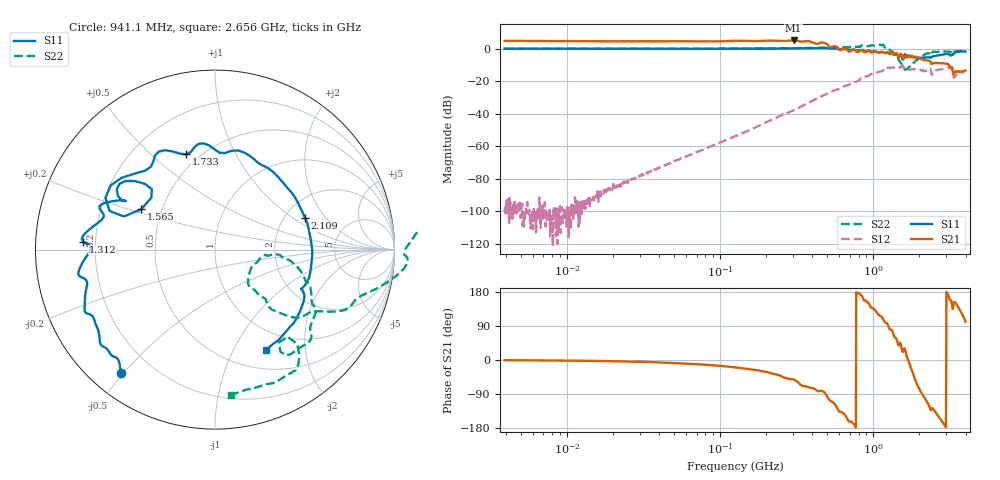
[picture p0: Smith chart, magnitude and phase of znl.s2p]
#  HZ  S  RI  R  50.00
! Rohde & Schwarz Vector Network Analyzer
! Rohde-Schwarz,ZNL20-2Port,1323001220101312,1.72.1.6-23.02.1.246
! Created: UTC 10/7/2024, 6:59:14 PM
! freq[Hz]  re:S11  im:S11  re:S21  im:S21  re:S12  im:S12  re:S22  im:S22
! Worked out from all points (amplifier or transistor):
!   1023 points, 3.9 MHz to 3.99 GHz, reference 50 ohm
!   highest |S21| = 5.1 dB at 301.2 MHz (marker M1)
!   |S21| within 3 dB of that: start of sweep to 505.6 MHz
!   unconditionally stable (mu >= 1): 1.368 GHz to 1.396 GHz; 1.422 GHz to end of sweep
!   at 12.35 MHz: K = -3.72, MSG = 51.6 dB, |S12| = -98.6 dB
!   at 124.7 MHz: K = -1.00, MSG = 29.3 dB, |S12| = -53.8 dB
!   at 3.99 GHz: K = 1.76, MAG = -5.0 dB, |S12| = -13.5 dB
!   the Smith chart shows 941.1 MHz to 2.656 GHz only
!   S11 on the Smith chart (normalised r, x): 941.1 MHz: 0.09, -0.49; 1.312 GHz: 0.15, +0.03; 1.565 GHz: 0.38, +0.22; 1.733 GHz: 0.43, +0.65; 2.109 GHz: 2.58, +1.26; 2.656 GHz: 0.73, -1.35
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3900000  1.01 -0.00692  1.751 -0.0145  6.79e-06 1.15e-05  -0.9927 0.008
1.243581e7  1.005 -0.0215  1.703 -0.0601  -8.08e-06 -1.58e-06  -0.994 0.0294
2.622003e7  0.9973 -0.0458  1.697 -0.1218  -9.53e-05 -8.12e-06  -0.9932 0.0607
3.938566e7  0.9927 -0.0692  1.704 -0.1872  -0.000217 6.37e-06  -0.9912 0.0891
1.24739e8  0.9761 -0.2179  1.656 -0.5796  -0.00199 0.000438  -0.962 0.2696
3.012058e8  0.8872 -0.522  1.12 -1.411  -0.0111 0.00632  -0.8169 0.6382
3.977514e8  0.7684 -0.7059  0.4271 -1.53  -0.0192 0.0159  -0.674 0.8207
4.776712e8  0.6388 -0.8285  0.1311 -1.512  -0.0233 0.0297  -0.5199 0.9465
5.216931e8  0.4697 -0.8964  -0.3307 -1.079  -0.0237 0.0396  -0.4217 1.015
6.525336e8  0.0817 -0.9726  -0.8597 -0.5992  -0.0138 0.0714  -0.107 1.113
9.411035e8  -0.5237 -0.6864  -0.7224 0.4626  0.0717 0.1342  0.6022 1.049
1.12256e9  -0.7204 -0.3524  -0.3491 0.7272  0.156 0.129  0.8999 0.9418
1.209499e9  -0.7343 -0.158  -0.1016 0.7464  0.2477 0.0264  1.054 -0.0127
1.259726e9  -0.7211 -0.046  0.0437 0.7396  0.2632 -0.00902  1.009 -0.1473
1.312038e9  -0.7337 0.0447  0.1391 0.7474  0.2536 -0.0552  0.7762 -0.2872
1.565016e9  -0.4111 0.2247  0.4765 0.1938  0.1393 -0.2613  0.193 -0.208
1.732587e9  -0.1593 0.5309  0.5383 -0.1214  0.0792 -0.2176  0.2867 -0.0311
2.109125e9  0.5031 0.1752  -0.03 -0.4637  -0.0672 -0.2078  0.5424 -0.3025
2.656044e9  0.2817 -0.5616  -0.3067 -0.1904  -0.2013 -0.1094  0.0881 -0.8074
3.168162e9  -0.2772 -0.5495  -0.2571 0.1034  -0.2097 0.1347  -0.4507 -0.6652
3.436754e9  -0.4867 -0.6028  -0.1665 0.093  -0.1109 0.0957  -0.6091 -0.5764
3.9897e9  -0.8139 -0.0879  -0.0415 0.2104  -0.0321 0.2091  -0.8368 -0.1088
